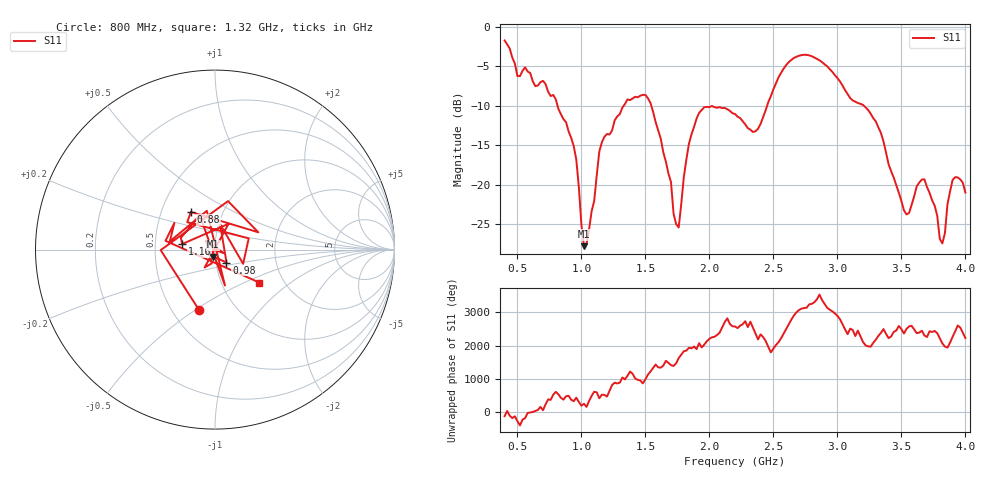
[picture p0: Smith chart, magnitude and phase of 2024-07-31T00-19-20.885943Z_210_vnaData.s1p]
!Created with skrf (http://scikit-rf.org).
# Hz S RI R 50.0
!freq ReS11 ImS11
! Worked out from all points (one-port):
!   181 points, 400 MHz to 4 GHz, reference 50 ohm
!   lowest |S11| = -27.8 dB at 1.02 GHz (marker M1), VSWR 1.08, Z = 48.9 - j3.89 ohm
!   |S11| at or under -10 dB: 813.6 MHz to 1.33 GHz (516.5 MHz wide, 48.2 % of centre); 1.546 GHz to 2.451 GHz (904.6 MHz wide, 45.3 % of centre); 3.207 GHz to end of sweep
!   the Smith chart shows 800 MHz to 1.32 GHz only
!   S11 on the Smith chart (normalised r, x): 800 MHz: 0.68, -0.52; 880 MHz: 0.70, +0.32; 980 MHz: 1.12, -0.16; 1.16 GHz: 0.69, +0.04; 1.32 GHz: 1.51, -0.61
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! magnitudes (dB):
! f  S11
! 400 MHz  -1.7
! 500 MHz  -6.2
! 560 MHz  -5.1
! 800 MHz  -9.2
! 860 MHz  -11.7
! 880 MHz  -12.1
! 940 MHz  -15.1
! 980 MHz  -20.3
! 1.02 GHz  -27.8
! 1.1 GHz  -22.1
! 1.16 GHz  -14.6
! 1.3 GHz  -11.1
! 1.32 GHz  -10.2
! 1.54 GHz  -9.7
! 1.76 GHz  -25.4
! 1.84 GHz  -14.8
! 1.92 GHz  -10.9
! 2.2 GHz  -11.0
! 2.36 GHz  -13.2
! 2.66 GHz  -3.9
! 2.86 GHz  -4.2
! 3.1 GHz  -9.0
! 3.3 GHz  -12.0
! 3.56 GHz  -23.6
! 3.68 GHz  -19.3
! 3.82 GHz  -27.5
! 3.9 GHz  -19.4
! 4 GHz  -21.0
